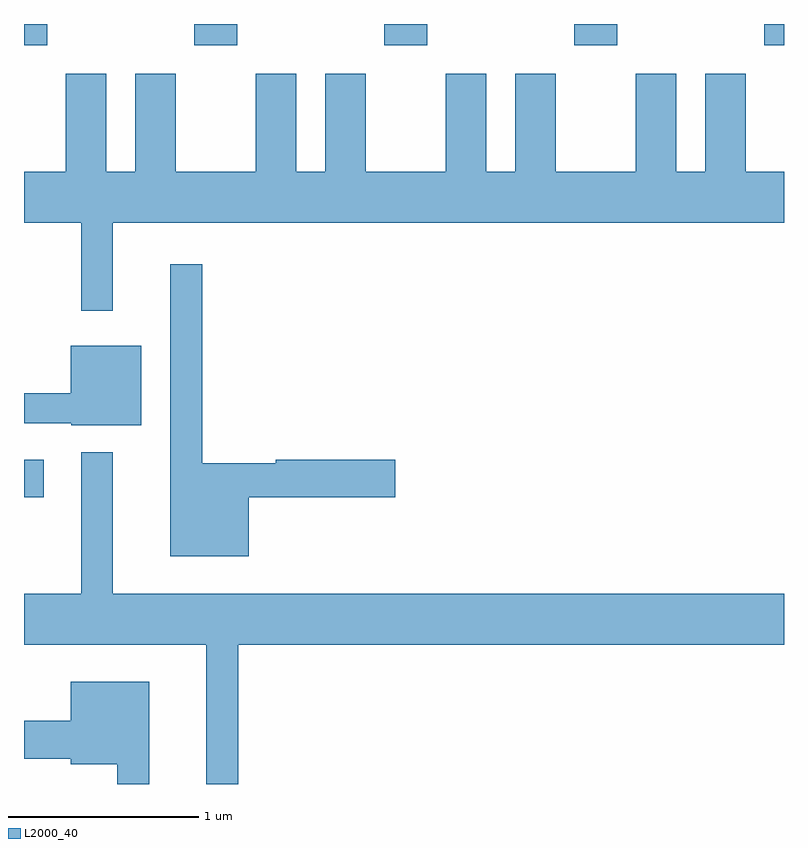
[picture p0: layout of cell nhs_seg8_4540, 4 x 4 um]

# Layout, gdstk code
import gdstk
lib = gdstk.Library(unit=1e-6, precision=1e-09)
def R(c, l, rs):  # rectangles x0, y0, x1, y1
    for r in rs: c.add(gdstk.rectangle(r[:2], r[2:], *l))
def A(c, l, x, y, w, h, nx, ny, dx, dy):  # array of equal rectangles
    R(c, l, [(x+i*dx, y+j*dy, x+i*dx+w, y+j*dy+h) for i in range(nx) for j in range(ny)])
def P(c, l, *ps):  # polygons
    for p in ps: c.add(gdstk.Polygon(p, *l))
L2000_40 = (2000, 40)

nhs_seg8_4540 = lib.new_cell('nhs_seg8_4540')
A(nhs_seg8_4540, L2000_40, 322.506, 1846.231, 0.228, 0.111, 3, 1, 1, 0)
R(nhs_seg8_4540, L2000_40, [(321.611,1843.851,321.714,1844.049), (321.611,1846.231,321.734,1846.342), (325.506,1846.231,325.611,1846.342)])
P(nhs_seg8_4540, L2000_40, [(325.196,1846.079),(325.196,1845.564),(325.044,1845.564),(325.044,1846.079),(324.831,1846.079),(324.831,1845.564),(324.409,1845.564),(324.409,1846.079),(324.196,1846.079),(324.196,1845.564),(324.044,1845.564),(324.044,1846.079),(323.831,1846.079),(323.831,1845.564),(323.409,1845.564),(323.409,1846.079),(323.196,1846.079),(323.196,1845.564),(323.044,1845.564),(323.044,1846.079),(322.831,1846.079),(322.831,1845.564),(322.409,1845.564),(322.409,1846.079),(322.196,1846.079),(322.196,1845.564),(322.044,1845.564),(322.044,1846.079),(321.831,1846.079),(321.831,1845.564),(321.611,1845.564),(321.611,1845.296),(321.911,1845.296),(321.911,1844.833),(322.079,1844.833),(322.079,1845.296),(325.611,1845.296),(325.611,1845.564),(325.409,1845.564),(325.409,1846.079)],
  [(322.794,1843.851),(323.564,1843.851),(323.564,1844.049),(322.936,1844.049),(322.936,1844.029),(322.549,1844.029),(322.549,1845.078),(322.381,1845.078),(322.381,1843.541),(322.794,1843.541)],
  [(322.229,1844.649),(321.856,1844.649),(321.856,1844.399),(321.611,1844.399),(321.611,1844.241),(321.86,1844.241),(321.86,1844.231),(322.229,1844.231)],
  [(322.739,1843.076),(325.611,1843.076),(325.611,1843.344),(322.079,1843.344),(322.079,1844.088),(321.911,1844.088),(321.911,1843.344),(321.611,1843.344),(321.611,1843.076),(322.571,1843.076),(322.571,1842.342),(322.739,1842.342)],
  [(322.269,1842.879),(321.856,1842.879),(321.856,1842.674),(321.611,1842.674),(321.611,1842.476),(321.856,1842.476),(321.856,1842.446),(322.101,1842.446),(322.101,1842.342),(322.269,1842.342)])

lib.write_gds('nhs_seg8_4540.gds')
